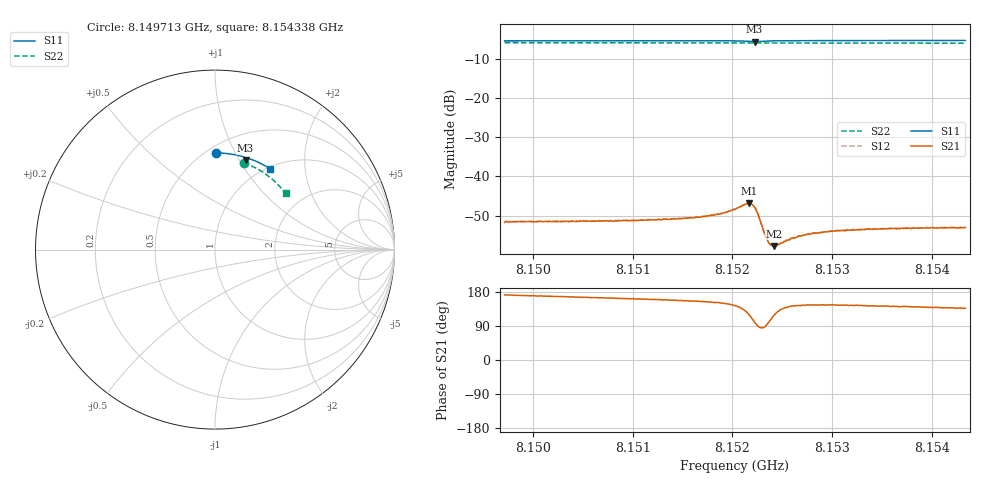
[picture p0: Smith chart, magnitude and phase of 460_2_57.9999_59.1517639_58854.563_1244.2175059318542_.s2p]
#  HZ  S  RI  R  50.00
! Rohde & Schwarz Vector Network Analyzer
! Rohde-Schwarz,ZNB20-2Port,1311601062101988,3.16
! Created: UTC 3/21/2024, 1:10:55 AM
! freq[Hz]  re:S11  im:S11  re:S21  im:S21  re:S12  im:S12  re:S22  im:S22
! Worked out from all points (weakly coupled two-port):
!   401 points, 8.149713 GHz to 8.154338 GHz, reference 50 ohm
!   highest |S21| = -46.90 dB at 8.152165 GHz (marker M1); lowest = -57.8 dB at 8.152419 GHz (marker M2)
!   lowest |S11| = -5.6 dB at 8.152222 GHz (marker M3), VSWR 3.22, Z = 38.6 + j53.2 ohm
!   |S11| at or under -10 dB: nowhere
!   |S22| runs from -6.0 to -5.9 dB; largest |S21 - S12| = 0.00012
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8.1497135e9  0.00398 0.5377  -0.00255 0.000374  -0.00264 0.000399  0.1597 0.4841
8.1504881e9  0.0581 0.5359  -0.00259 0.000672  -0.00258 0.000749  0.2058 0.4653
8.1512627e9  0.1117 0.5286  -0.00265 0.00099  -0.00262 0.00105  0.2496 0.442
8.1514824e9  0.1271 0.5254  -0.00264 0.00112  -0.00264 0.00117  0.2616 0.4346
8.1517483e9  0.146 0.5205  -0.00277 0.00139  -0.0028 0.00146  0.2757 0.4253
8.151887e9  0.1562 0.5172  -0.0029 0.00166  -0.00291 0.00173  0.283 0.4203
8.1520258e9  0.1669 0.5121  -0.00304 0.00225  -0.00308 0.0023  0.2901 0.4149
8.1521298e9  0.1737 0.5046  -0.0028 0.00339  -0.00275 0.00348  0.2953 0.4108
8.1521645e9  0.174 0.5012  -0.00229 0.00389  -0.00226 0.00396  0.297 0.4094
8.1521992e9  0.1722 0.4984  -0.00136 0.00415  -0.00135 0.00418  0.2985 0.408
8.1522223e9  0.1704 0.498  -0.000701 0.00398  -0.000631 0.00399  0.2995 0.4074
8.152257e9  0.1686 0.4999  4.13e-05 0.00328  9.03e-05 0.0033  0.3013 0.406
8.1523148e9  0.1707 0.5048  0.000129 0.00197  0.000179 0.00197  0.304 0.4042
8.1523495e9  0.1738 0.5065  -0.000116 0.00155  -0.000113 0.00155  0.3059 0.4026
8.1523842e9  0.1771 0.5074  -0.000379 0.00127  -0.000394 0.0013  0.3077 0.4014
8.1524189e9  0.1802 0.5075  -0.000612 0.00114  -0.000599 0.00116  0.3094 0.4001
8.1524535e9  0.1832 0.5072  -0.000808 0.00105  -0.000802 0.00108  0.3111 0.3986
8.1526385e9  0.1979 0.504  -0.00133 0.000988  -0.00134 0.00103  0.3203 0.3911
8.1528004e9  0.2094 0.5001  -0.00154 0.00107  -0.00155 0.00112  0.328 0.3843
8.1531357e9  0.2315 0.491  -0.00166 0.00117  -0.00169 0.00121  0.3434 0.3698
8.153575e9  0.2593 0.4778  -0.00169 0.00133  -0.00168 0.00135  0.3627 0.3499
8.1543381e9  0.305 0.4514  -0.00161 0.00154  -0.00163 0.00153  0.3933 0.3131
